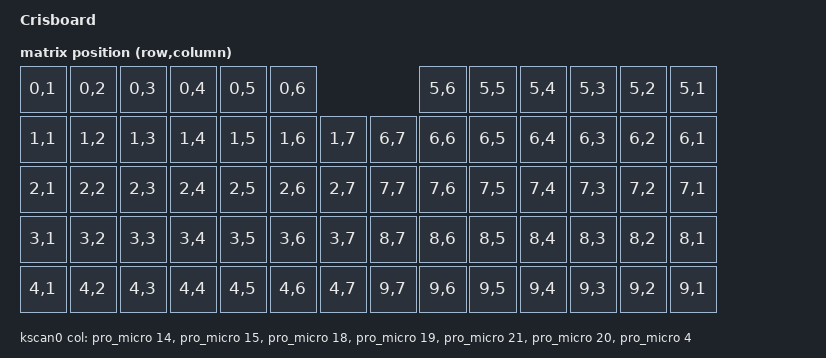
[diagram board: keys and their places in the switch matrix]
/ {

    model = "Crisboard";

    chosen {
        zmk,kscan = &kscan0;
        zmk,matrix_transform = &default_transform;
    };



      default_transform: keymap_transform_0 {
        compatible = "zmk,matrix-transform";
        columns = <7>;
        rows = <10>;
// | MX1  | MX2  | MX3  | MX4  | MX5  | MX6  |             | MX9  | MX10 | MX11 | MX12 | MX13 | MX14 |
// | MX15 | MX16 | MX17 | MX18 | MX19 | MX20 | MX21 | MX22 | MX23 | MX34 | MX25 | MX26 | MX27 | MX28 |
// | MX29 | MX30 | MX31 | MX32 | MX33 | MX34 | MX35 | MX36 | MX9  | MX10 | MX11 | MX12 | MX13 | MX14 |
// | MX42 | MX43 | MX44 | MX45 | MX46 | MX47 | MX48 | MX49 | MX9  | MX10 | MX11 | MX12 | MX13 | MX14 |
// | MX54 | MX55 | MX56 | MX57 | MX58 | MX59 | MX60 | MX61 | MX9  | MX10 | MX11 | MX12 | MX13 | MX14 |
        map = <
RC(0,1)  RC(0,2)  RC(0,3)  RC(0,4)  RC(0,5)  RC(0,6)                         RC(5,6)  RC(5,5)   RC(5,4)   RC(5,3)  RC(5,2)  RC(5,1)
RC(1,1)  RC(1,2)  RC(1,3)  RC(1,4)  RC(1,5)  RC(1,6)  RC(1,7)       RC(6,7)  RC(6,6)  RC(6,5)   RC(6,4)   RC(6,3)  RC(6,2)  RC(6,1)
RC(2,1)  RC(2,2)  RC(2,3)  RC(2,4)  RC(2,5)  RC(2,6)  RC(2,7)       RC(7,7)  RC(7,6)  RC(7,5)   RC(7,4)   RC(7,3)  RC(7,2)  RC(7,1)
RC(3,1)  RC(3,2)  RC(3,3)  RC(3,4)  RC(3,5)  RC(3,6)  RC(3,7)       RC(8,7)  RC(8,6)  RC(8,5)   RC(8,4)   RC(8,3)  RC(8,2)  RC(8,1)
RC(4,1)  RC(4,2)  RC(4,3)  RC(4,4)  RC(4,5)  RC(4,6)  RC(4,7)       RC(9,7)  RC(9,6)  RC(9,5)   RC(9,4)   RC(9,3)  RC(9,2)  RC(9,1)
        >;
    };





    kscan0: kscan_0 {
        compatible = "zmk,kscan-gpio-matrix";
        label = "KSCAN";
        diode-direction = "col2row";

        col-gpios
            = <&pro_micro 14 GPIO_ACTIVE_HIGH>
            , <&pro_micro 15 GPIO_ACTIVE_HIGH>
            , <&pro_micro 18 GPIO_ACTIVE_HIGH>
            , <&pro_micro 19 GPIO_ACTIVE_HIGH>
            , <&pro_micro 21 GPIO_ACTIVE_HIGH>
            , <&pro_micro 20 GPIO_ACTIVE_HIGH>
            , <&pro_micro 4 GPIO_ACTIVE_HIGH>
            ;

    };
};

